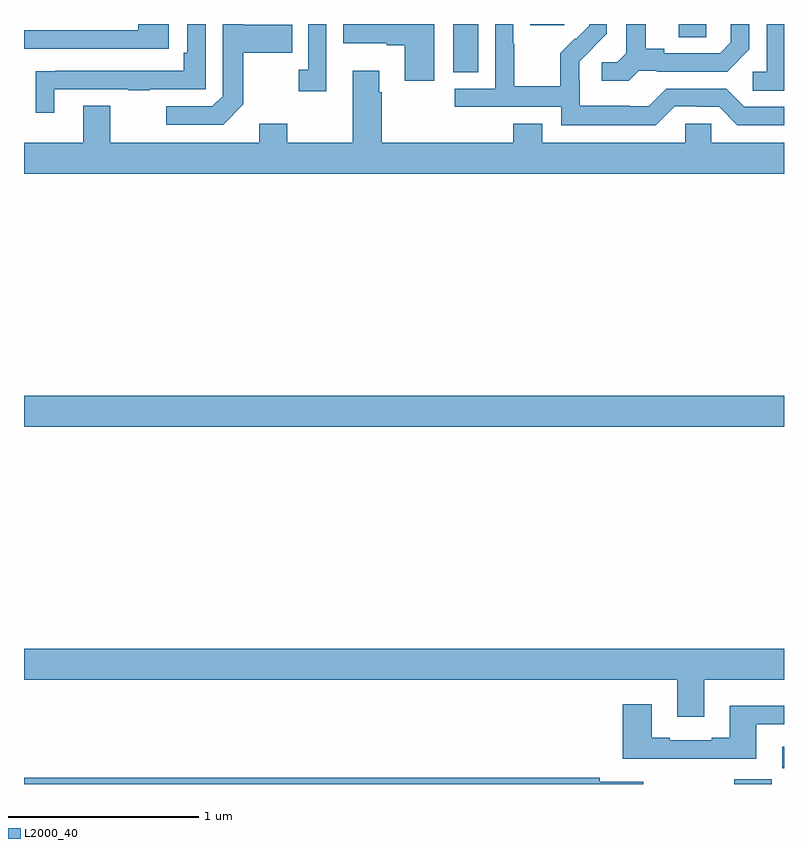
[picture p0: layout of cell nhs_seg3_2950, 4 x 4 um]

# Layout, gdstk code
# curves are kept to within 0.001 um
import gdstk
lib = gdstk.Library(unit=1e-6, precision=1e-09)
def R(c, l, rs):  # rectangles x0, y0, x1, y1
    for r in rs: c.add(gdstk.rectangle(r[:2], r[2:], *l))
def P(c, l, *ps):  # polygons
    for p in ps: c.add(gdstk.Polygon(p, *l))
L2000_40 = (2000, 40)

nhs_seg3_2950 = lib.new_cell('nhs_seg3_2950')
R(nhs_seg3_2950, L2000_40, [(268.739,668.4,268.935,668.425), (268.991,668.483,269,668.596), (265,670.28,269,670.444), (267.26,672.145,267.391,672.4), (268.445,672.331,268.59,672.4), (267.665,672.393,267.844,672.4)])
P(nhs_seg3_2950, L2000_40, [(266.592,672.4),(266.496,672.4),(266.496,672.158),(266.445,672.158),(266.445,672.045),(266.592,672.045)],
  [(267.16,672.4),(266.679,672.4),(266.679,672.299),(266.909,672.299),(266.909,672.287),(267.005,672.287),(267.005,672.102),(267.16,672.102)],
  [(268.236,672.153),(268.33,672.153),(268.33,672.15),(268.702,672.15),(268.818,672.266),(268.818,672.4),(268.721,672.4),(268.721,672.303),(268.664,672.246),(268.369,672.246),(268.369,672.269),(268.273,672.269),(268.273,672.4),(268.169,672.4),(268.169,672.245),(268.122,672.198),(268.041,672.198),(268.041,672.101),(268.184,672.101)],
  [(269,672.4),(268.908,672.4),(268.908,672.15),(268.836,672.15),(268.836,672.049),(269,672.049)],
  [(266.155,671.977),(266.155,672.25),(266.411,672.25),(266.411,672.397),(266.155,672.397),(266.155,672.4),(266.046,672.4),(266.046,672.021),(265.992,671.967),(265.749,671.967),(265.749,671.871),(266.049,671.871)],
  [(265.159,672.057),(265.549,672.057),(265.549,672.052),(265.661,672.052),(265.661,672.057),(265.956,672.057),(265.956,672.4),(265.86,672.4),(265.86,672.25),(265.84,672.25),(265.84,672.153),(265.165,672.153),(265.165,672.152),(265.063,672.152),(265.063,671.934),(265.159,671.934)],
  [(268.425,671.967),(268.541,671.967),(268.541,671.964),(268.659,671.964),(268.755,671.868),(269,671.868),(269,671.964),(268.791,671.964),(268.695,672.06),(268.38,672.06),(268.287,671.967),(268.187,671.967),(268.187,671.971),(267.924,671.971),(267.924,672.105),(267.922,672.105),(267.922,672.202),(268.068,672.35),(268.068,672.4),(267.974,672.4),(267.974,672.392),(267.903,672.321),(267.9,672.324),(267.823,672.247),(267.823,672.073),(267.579,672.073),(267.579,672.296),(267.576,672.296),(267.576,672.4),(267.48,672.4),(267.48,672.06),(267.267,672.06),(267.267,671.964),(267.828,671.964),(267.828,671.867),(268.325,671.867)],
  [(265.762,672.4),(265.601,672.4),(265.601,672.366),(265,672.366),(265,672.27),(265.762,672.27)],
  [(265.313,671.971),(265.313,671.776),(265,671.776),(265,671.612),(269,671.612),(269,671.776),(268.617,671.776),(268.617,671.874),(268.479,671.874),(268.479,671.776),(267.727,671.776),(267.727,671.875),(267.575,671.875),(267.575,671.776),(266.882,671.776),(266.882,672.041),(266.869,672.041),(266.869,672.154),(266.729,672.154),(266.729,671.776),(266.385,671.776),(266.385,671.875),(266.237,671.875),(266.237,671.776),(265.453,671.776),(265.453,671.971)],
  [(268.579,668.948),(269,668.948),(269,669.112),(265,669.112),(265,668.948),(268.439,668.948),(268.439,668.754),(268.579,668.754)],
  [(268.855,668.715),(269,668.715),(269,668.812),(268.715,668.812),(268.715,668.644),(268.619,668.644),(268.619,668.631),(268.399,668.631),(268.399,668.644),(268.303,668.644),(268.303,668.821),(268.151,668.821),(268.151,668.534),(268.855,668.534)],
  [(268.258,668.413),(268.03,668.413),(268.03,668.432),(265,668.432),(265,668.4),(268.258,668.4)])

lib.write_gds('nhs_seg3_2950.gds')
